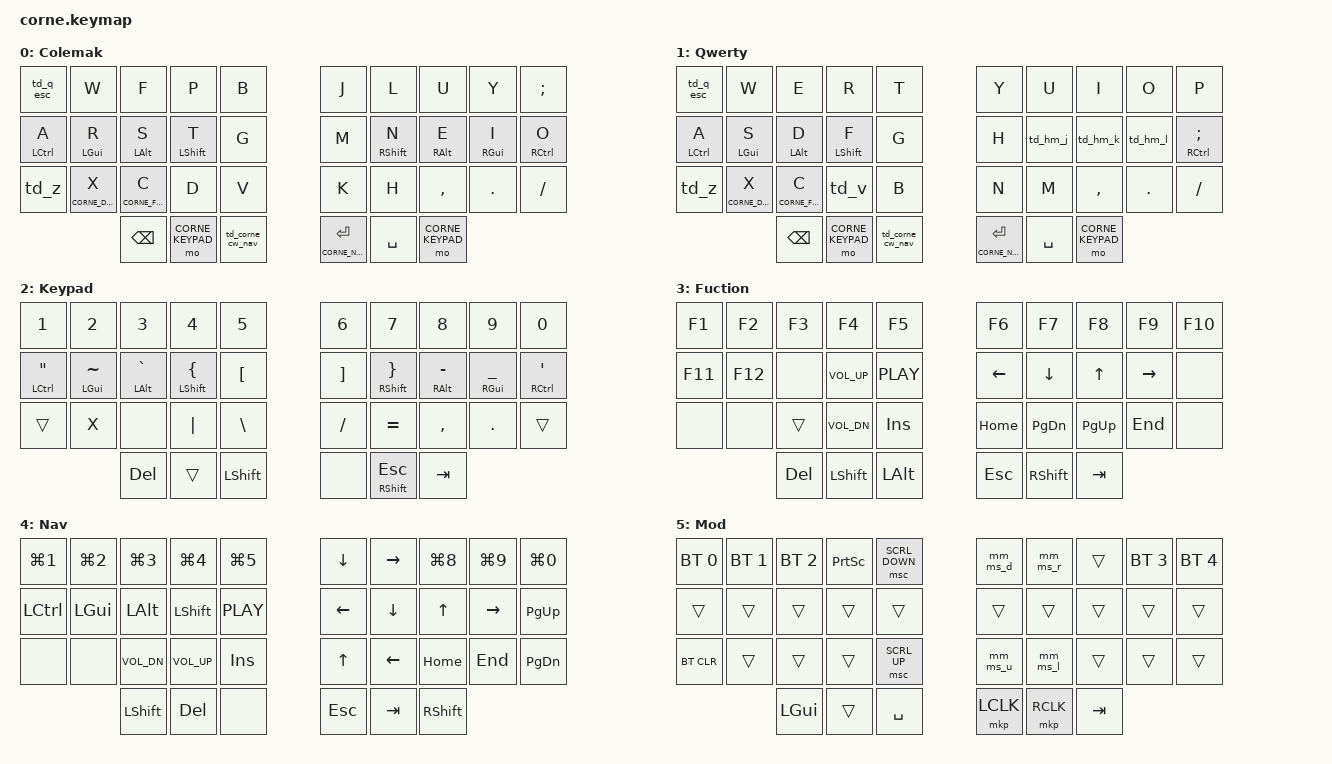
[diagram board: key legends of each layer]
/*
 * Copyright (c) 2020 The ZMK Contributors
 *
 * SPDX-License-Identifier: MIT
 */

#include <behaviors.dtsi>
#include <dt-bindings/zmk/keys.h>
#include <dt-bindings/zmk/bt.h>
#include <dt-bindings/zmk/pointing.h>
#include "zmk-helpers/key-labels/36.h"

#define CORNE_COLEMAK_DH   0
#define CORNE_QWERTY       1
#define CORNE_KEYPAD       2
#define CORNE_FUNCTION     3
#define CORNE_NAV          4
#define CORNE_DEF_MOD      5

#define QWERTY             CORNE_QWERTY

#define TD_HM_TAP_TERM     175
#define TD_Z_TAP_TERM      250
#define HM_TAP_TERM          180
#define HM_TAP_2_TERM        190
#define HM_TAP_3_TERM        190
#define HM_TAP_4_TERM        200
#define HM_TAP_5_TERM        250
#define HM_QUICK_TAP_TERM    150
#define HM_QUICK_TAP_2_TERM  150
#define HM_QUICK_TAP_3_TERM  150
#define HM_QUICK_TAP_4_TERM  150
#define HM_QUICK_TAP_5_TERM  150
#define HM_REQUIRE_IDLE_MS   125
#define HM_REQUIRE_IDLE_2_MS 125
#define HM_REQUIRE_IDLE_3_MS 125
#define HM_REQUIRE_IDLE_4_MS 125
#define HM_REQUIRE_IDLE_5_MS 125
#define HM_REQUIRE_IDLE_MS 125
#define TD_CW_TAP_TERM     190
#define LT_TAPPING_TERM    150

#define KEYS_L LT0 LT1 LT2 LT3 LT4 \
               LM0 LM1 LM2 LM3 LM4 \
               LB0 LB1 LB2 LB3 LB4  // Left-hand keys.

#define KEYS_R RT0 RT1 RT2 RT3 RT4 \
               RM0 RM1 RM2 RM3 RM4 \
               RB0 RB1 RB2 RB3 RB4  // Right-hand keys.

#define THUMBS LH2 LH1 LH0 RH0 RH1 RH2  // Thumb keys.

&lt {
    tapping-term-ms = <LT_TAPPING_TERM>;
};

/ {
    chosen {
        zmk,physical-layout = &foostan_corne_5col_layout;
    };

    behaviors {

        hm: homerow_mods {
            compatible = "zmk,behavior-hold-tap";
            label = "HOMEROW_MODS";
            #binding-cells = <2>;
            tapping-term-ms = <HM_TAP_TERM>;
            quick_tap_ms = <HM_QUICK_TAP_TERM>;
            require-prior-idle-ms = <HM_REQUIRE_IDLE_MS>;
            flavor = "balanced";
            bindings = <&kp>, <&kp>;
        };

        hml2: homerow_mods_l_2 {
            compatible = "zmk,behavior-hold-tap";
            #binding-cells = <2>;
            tapping-term-ms = <HM_TAP_2_TERM>;
            quick-tap-ms = <HM_QUICK_TAP_2_TERM>;
            require-prior-idle-ms = <HM_REQUIRE_IDLE_2_MS>;
            flavor = "balanced";
            bindings = <&kp>, <&kp>;
            hold-trigger-key-positions = <KEYS_L THUMBS>;
            hold-trigger-on-release;
        };

        hml3: homerow_mods_l_3 {
            compatible = "zmk,behavior-hold-tap";
            #binding-cells = <2>;
            tapping-term-ms = <HM_TAP_3_TERM>;
            quick-tap-ms = <HM_QUICK_TAP_3_TERM>;
            require-prior-idle-ms = <HM_REQUIRE_IDLE_3_MS>;
            flavor = "balanced";
            bindings = <&kp>, <&kp>;
            hold-trigger-key-positions = <KEYS_L THUMBS>;
            hold-trigger-on-release;
        };

        hml4: homerow_mods_l_4 {
            compatible = "zmk,behavior-hold-tap";
            #binding-cells = <2>;
            tapping-term-ms = <HM_TAP_4_TERM>;
            quick-tap-ms = <HM_QUICK_TAP_4_TERM>;
            require-prior-idle-ms = <HM_REQUIRE_IDLE_4_MS>;
            flavor = "balanced";
            bindings = <&kp>, <&kp>;
            hold-trigger-key-positions = <KEYS_L THUMBS>;
            hold-trigger-on-release;
        };

        hml5: homerow_mods_l_5 {
            compatible = "zmk,behavior-hold-tap";
            #binding-cells = <2>;
            tapping-term-ms = <HM_TAP_5_TERM>;
            quick-tap-ms = <HM_QUICK_TAP_5_TERM>;
            require-prior-idle-ms = <HM_REQUIRE_IDLE_5_MS>;
            flavor = "balanced";
            bindings = <&kp>, <&kp>;
            hold-trigger-key-positions = <KEYS_L THUMBS>;
            hold-trigger-on-release;
        };

        hmr2: homerow_mods_r_2 {
            compatible = "zmk,behavior-hold-tap";
            #binding-cells = <2>;
            tapping-term-ms = <HM_TAP_2_TERM>;
            quick-tap-ms = <HM_QUICK_TAP_2_TERM>;
            require-prior-idle-ms = <HM_REQUIRE_IDLE_2_MS>;
            flavor = "balanced";
            bindings = <&kp>, <&kp>;
            hold-trigger-key-positions = <KEYS_R THUMBS>;
            hold-trigger-on-release;
        };

        hmr3: homerow_mods_r_3 {
            compatible = "zmk,behavior-hold-tap";
            #binding-cells = <2>;
            tapping-term-ms = <HM_TAP_3_TERM>;
            quick-tap-ms = <HM_QUICK_TAP_3_TERM>;
            require-prior-idle-ms = <HM_REQUIRE_IDLE_3_MS>;
            flavor = "balanced";
            bindings = <&kp>, <&kp>;
            hold-trigger-key-positions = <KEYS_R THUMBS>;
            hold-trigger-on-release;
        };

        hmr4: homerow_mods_r_4 {
            compatible = "zmk,behavior-hold-tap";
            #binding-cells = <2>;
            tapping-term-ms = <HM_TAP_4_TERM>;
            quick-tap-ms = <HM_QUICK_TAP_4_TERM>;
            require-prior-idle-ms = <HM_REQUIRE_IDLE_4_MS>;
            flavor = "balanced";
            bindings = <&kp>, <&kp>;
            hold-trigger-key-positions = <KEYS_R THUMBS>;
            hold-trigger-on-release;
        };

        hmr5: homerow_mods_r_5 {
            compatible = "zmk,behavior-hold-tap";
            #binding-cells = <2>;
            tapping-term-ms = <HM_TAP_5_TERM>;
            quick-tap-ms = <HM_QUICK_TAP_5_TERM>;
            require-prior-idle-ms = <HM_REQUIRE_IDLE_5_MS>;
            flavor = "balanced";
            bindings = <&kp>, <&kp>;
            hold-trigger-key-positions = <KEYS_R THUMBS>;
            hold-trigger-on-release;
        };

        td_hm_a: tap_dance_hm_a_lctrl {
            compatible = "zmk,behavior-tap-dance";
            #binding-cells = <0>;
            tapping-term-ms = <TD_HM_TAP_TERM>;
            bindings = <&hm LCTRL A>, <&kp LC(A)>;
        };

        td_hm_j: tap_dance_hm_j_shift {
            compatible = "zmk,behavior-tap-dance";
            #binding-cells = <0>;
            tapping-term-ms = <TD_HM_TAP_TERM>;
            bindings = <&hmr2 RSHIFT J>, <&kp J>;
        };

        td_hm_k: tap_dance_hm_k_alt {
            compatible = "zmk,behavior-tap-dance";
            #binding-cells = <0>;
            tapping-term-ms = <HM_TAP_TERM>;
            bindings = <&hmr3 RALT K>, <&kp K>;
        };

        td_hm_l: tap_dance_hm_l_gui {
            compatible = "zmk,behavior-tap-dance";
            #binding-cells = <0>;
            tapping-term-ms = <TD_HM_TAP_TERM>;
            bindings = <&hmr4 RGUI L>, <&kp L>;
        };
        td_v: tap_dance_v_shift_v {
            compatible = "zmk,behavior-tap-dance";
            #binding-cells = <0>;
            tapping-term-ms = <TD_HM_TAP_TERM>;
            bindings = <&kp V>, <&kp LS(V)>;
        };

        td_z: tap_dance_z_ctrl_z {
            compatible = "zmk,behavior-tap-dance";
            #binding-cells = <0>;
            tapping-term-ms = <TD_Z_TAP_TERM>;
            bindings = <&lt CORNE_KEYPAD Z>, <&kp RC(Z)>;
        };

        td_q_esc: tap_dance_q_escape {
            compatible = "zmk,behavior-tap-dance";
            #binding-cells = <0>;
            tapping-term-ms = <TD_HM_TAP_TERM>;
            bindings = <&kp Q>, <&kp ESC>;
        };

        td_qwerty: tap_dance_to_qwerty {
            compatible = "zmk,behavior-tap-dance";
            #binding-cells = <0>;
            tapping-term-ms = <TD_HM_TAP_TERM>;
            bindings = <&none>, <&to QWERTY>;
        };

        td_corne_q: tap_dance_to_corne_qwerty {
            compatible = "zmk,behavior-tap-dance";
            #binding-cells = <0>;
            tapping-term-ms = <TD_HM_TAP_TERM>;
            bindings = <&kp Q>, <&to CORNE_QWERTY>;
        };

        td_corne_c: tap_dance_to_corne_colemak {
            compatible = "zmk,behavior-tap-dance";
            #binding-cells = <0>;
            tapping-term-ms = <TD_HM_TAP_TERM>;
            bindings = <&kp Q>, <&to CORNE_COLEMAK_DH>;
        };

        td_corne_cw_nav: tap_dance_caps_corne {
            compatible = "zmk,behavior-tap-dance";
            #binding-cells = <0>;
            tapping-term-ms = <TD_CW_TAP_TERM>;
            bindings = <&lt CORNE_NAV SPACE>, <&caps_word>;
        };
        mm_ms_u: mouse_move_scroll_up {
            compatible = "zmk,behavior-mod-morph";
            #binding-cells = <0>;
            bindings = <&mmv MOVE_UP>, <&msc SCRL_UP>;
            mods = <(MOD_LSFT|MOD_RSFT)>;
        };
        mm_ms_d: mouse_move_scroll_down {
            compatible = "zmk,behavior-mod-morph";
            #binding-cells = <0>;
            bindings = <&mmv MOVE_DOWN>, <&msc SCRL_DOWN>;
            mods = <(MOD_LSFT|MOD_RSFT)>;
        };
        mm_ms_l: mouse_move_scroll_left {
            compatible = "zmk,behavior-mod-morph";
            #binding-cells = <0>;
            bindings = <&mmv MOVE_LEFT>, <&msc SCRL_LEFT>;
            mods = <(MOD_LSFT|MOD_RSFT)>;
        };
        mm_ms_r: mouse_move_scroll_right {
            compatible = "zmk,behavior-mod-morph";
            #binding-cells = <0>;
            bindings = <&mmv MOVE_RIGHT>, <&msc SCRL_RIGHT>;
            mods = <(MOD_LSFT|MOD_RSFT)>;
        };
    };


    chosen {
      zmk,matrix_transform = &five_column_transform;
    };
        keymap {
                compatible = "zmk,keymap";

        corne_colemak_dh {
            display-name = "Colemak";
            bindings = <
  &td_q_esc          &kp W                &kp F                 &kp P                 &kp B                  &kp J                &kp L          &kp U             &kp Y          &kp SEMI
  &hml5 LCTRL A      &hml4 LGUI R         &hml3 LALT S          &hml2 LSHIFT T        &kp G                  &kp M                &hmr2 RSHIFT N &hmr3 RALT E      &hmr4 RGUI I   &hmr5 RCTRL O
  &td_z              &lt CORNE_DEF_MOD X  &lt CORNE_FUNCTION C  &kp D                 &kp V                  &kp K                &kp H          &kp COMMA         &kp DOT        &kp FSLH
                                          &kp BSPC              &mo CORNE_KEYPAD      &td_corne_cw_nav       &lt CORNE_NAV ENTER  &kp SPACE      &mo CORNE_KEYPAD
>;
        };

        qwerty_layer {
                display-name = "Qwerty";
            bindings = <
  &td_q_esc           &kp W                &kp E                 &kp R                 &kp T                  &kp Y                &kp U      &kp I             &kp  O    &kp P
  &hml5 LCTRL A       &hml4 LGUI S         &hml3 LALT D          &hml2 LSHIFT F        &kp G                  &kp H                &td_hm_j   &td_hm_k          &td_hm_l  &hmr5 RCTRL SEMI
  &td_z               &lt CORNE_DEF_MOD X  &lt CORNE_FUNCTION C  &td_v                 &kp B                  &kp N                &kp M      &kp COMMA         &kp DOT   &kp FSLH
                                           &kp BSPC              &mo CORNE_KEYPAD      &td_corne_cw_nav       &lt CORNE_NAV ENTER  &kp SPACE  &mo CORNE_KEYPAD
 >;
        };

        corne_layer_keypad {
            display-name = "Keypad";
             bindings = <
  &kp N1             &kp N2            &kp N3            &kp N4             &kp N5      &kp N6    &kp N7             &kp N8            &kp N9            &kp N0
  &hml5 LCTRL DQT    &hml4 LGUI TILDE  &hml3 LALT GRAVE  &hml2 LSHIFT LBRC  &kp LBKT    &kp RBKT  &hmr2 RSHIFT RBRC  &hmr3 RALT MINUS  &hmr4 RGUI UNDER  &hmr5 RCTRL SQT
  &trans             &kp X             &none             &kp PIPE           &kp BSLH    &kp FSLH  &kp EQUAL          &kp COMMA         &kp DOT           &trans
                                   &kp DEL         &trans           &kp LSHIFT  &none     &hm RSHIFT ESC   &kp TAB
>;
};

corne_layer_fn {
    display-name = "Fuction";
    bindings = <
  &kp F1   &kp F2   &kp F3   &kp F4        &kp F5       &kp F6    &kp F7      &kp F8     &kp F9     &kp F10
  &kp F11  &kp F12  &none    &kp C_VOL_UP  &kp C_PLAY   &kp LEFT  &kp DOWN    &kp UP     &kp RIGHT  &none
  &none    &none    &trans   &kp C_VOL_DN  &kp INS      &kp HOME  &kp PG_DN   &kp PG_UP  &kp END    &none
                    &kp DEL  &kp LSHIFT    &kp LALT     &kp ESC   &kp RSHIFT  &kp TAB
                     >;
};

corne_layer_nav {
    display-name = "Nav";
    bindings = <
  &kp LG(N1)  &kp LG(N2)  &kp LG(N3)    &kp LG(N4)    &kp LG(N5)   &kp DOWN  &kp RIGHT  &kp LG(N8)  &kp LG(N9)  &kp LG(N0)
  &kp LCTRL   &kp LGUI    &kp LALT      &kp LSHIFT    &kp C_PLAY   &kp LEFT  &kp DOWN   &kp UP      &kp RIGHT   &kp PG_UP
  &none       &none       &kp C_VOL_DN  &kp C_VOL_UP  &kp INS      &kp UP    &kp LEFT   &kp HOME    &kp END     &kp PG_DN
                          &kp LSHIFT    &kp DEL       &none        &kp ESC   &kp TAB    &kp RSHIFT
                     >;
        };

                corne_mod_layer {
// -----------------------------------------------------------------------------------------
// | !     |  @  |  #  |  $  |  %  |     |  ^  |  &  |  *  |  (  |  )  |
// | BT1   | BT2 | BT3 | BT4 | BT5 |     | LFT | DWN |  UP | RGT |     |
// | BTCLR |     |     |     |     |     |     |     |     |     |     |
//               | GUI |     | SPC |     | ENT | ESC | TAB |
                        display-name = "Mod";
                        bindings = <
  &bt BT_SEL 0 &bt BT_SEL 1 &bt BT_SEL 2 &kp PRINTSCREEN &msc SCRL_DOWN   &mm_ms_d  &mm_ms_r  &trans  &bt BT_SEL 3  &bt BT_SEL 4
  &trans       &trans       &trans       &trans          &trans           &trans    &trans    &trans  &trans        &trans
  &bt BT_CLR   &trans       &trans       &trans          &msc SCRL_UP     &mm_ms_u  &mm_ms_l  &trans  &trans        &trans
                            &kp LGUI     &trans          &kp SPACE        &mkp LCLK &mkp RCLK &kp TAB
                        >;
                };

                extra_1 {
                        status = "reserved";
                };

                extra_2 {
                        status = "reserved";
                };

                extra_3 {
                        status = "reserved";
                };
        };
};
